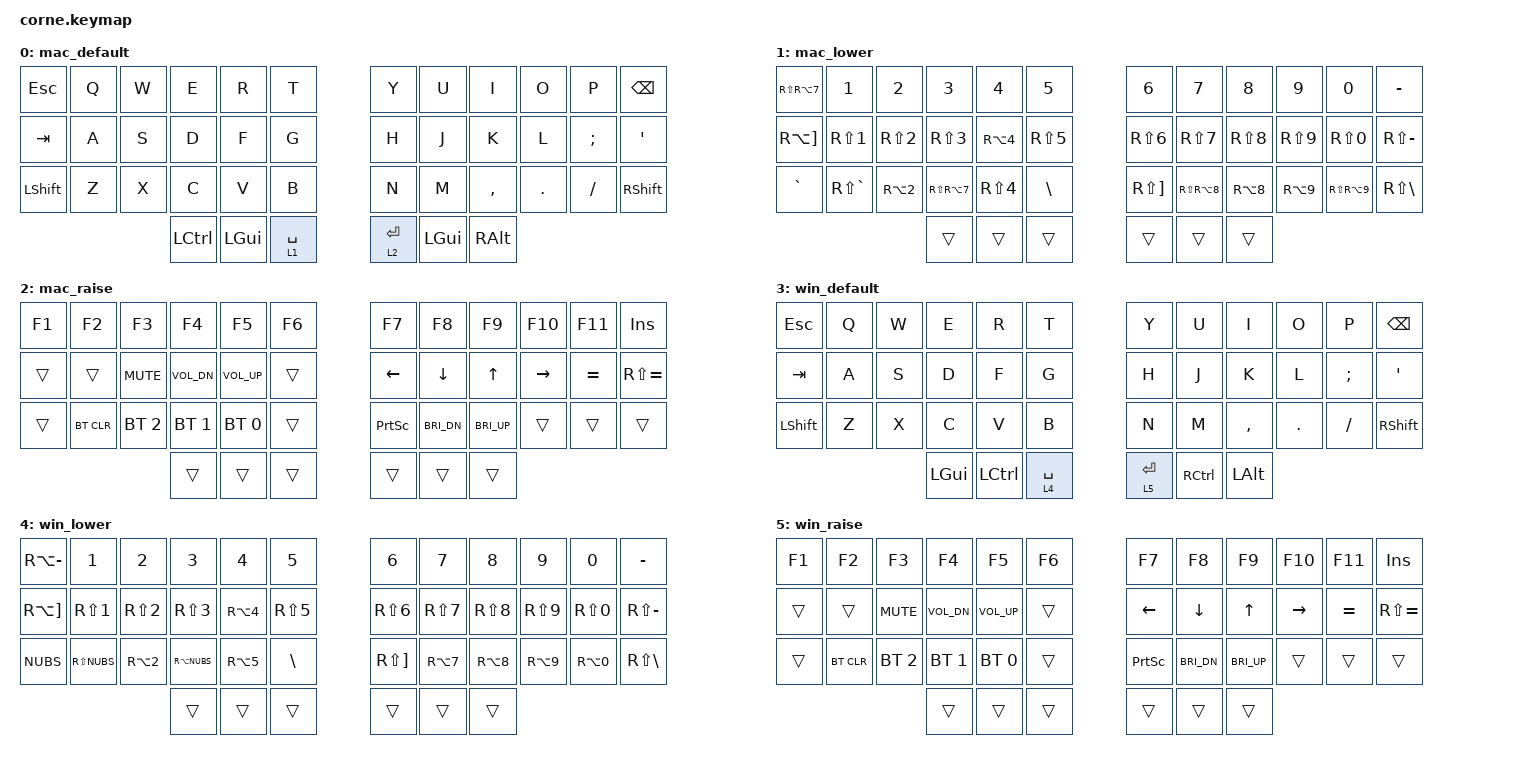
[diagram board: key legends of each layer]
/*
 * Copyright (c) 2020 The ZMK Contributors
 *
 * SPDX-License-Identifier: MIT
 */

#include <behaviors.dtsi>
#include <dt-bindings/zmk/keys.h>
#include <dt-bindings/zmk/bt.h>


/* the keyboard is supposed to be used with a finnish layout in the os
 * us to finnish mappings: 
 * , -> , and ;
 * . -> . and :
 * / -> - and _
 * ; -> ä and Ä
 * ' -> ö and Ö
 */

/ {
        // define combos for switching between mac and win layers
        combos {
                compatible = "zmk,combos";
                combo_to_win {
                        timeout-ms = <50>;
                        key-positions = <0 1>;
                        bindings = <&to 3>;
                };
                combo_to_mac {
                        timeout-ms = <50>;
                        key-positions = <2 3>;
                        bindings = <&to 0>;
                };
        };

        keymap {
                compatible = "zmk,keymap";

                // 0 1 2 layers for mac os keybindings
                mac_default { // layer 0
                        bindings = <
   &kp ESC   &kp Q &kp W &kp E &kp R &kp T   &kp Y &kp U  &kp I     &kp O   &kp P    &kp BSPC
   &kp TAB   &kp A &kp S &kp D &kp F &kp G   &kp H &kp J  &kp K     &kp L   &kp SEMI &kp SQT
   &kp LSHFT &kp Z &kp X &kp C &kp V &kp B   &kp N &kp M  &kp COMMA &kp DOT &kp FSLH &kp RSHFT

            &kp LCTRL &kp LGUI &lt 1 SPACE   &lt 2 RET &kp LGUI &kp RALT
                        >;
                };

                mac_lower { // layer 1
                        bindings = <
   &kp RS(RA(N7)) &kp N1         &kp N2     &kp N3         &kp N4         &kp N5
   &kp N6         &kp N7         &kp N8     &kp N9         &kp N0         &kp MINUS
   &kp RA(RBKT)   &kp RS(N1)     &kp RS(N2) &kp RS(N3)     &kp RA(N4)     &kp RS(N5)
   &kp RS(N6)     &kp RS(N7)     &kp RS(N8) &kp RS(N9)     &kp RS(N0)     &kp RS(MINUS)
   &kp GRAVE      &kp RS(GRAVE)  &kp RA(N2) &kp RS(RA(N7)) &kp RS(N4)     &kp BSLH
   &kp RS(RBKT)   &kp RS(RA(N8)) &kp RA(N8) &kp RA(N9)     &kp RS(RA(N9)) &kp RS(BSLH)

   &trans &trans &trans  &trans &trans &trans
                        >;
                };

                mac_raise { // layer 2
                        bindings = <
   &kp F1    &kp F2       &kp F3       &kp F4       &kp F5         &kp F6
   &kp F7    &kp F8       &kp F9       &kp F10      &kp F11        &kp INS
   &trans    &trans       &kp C_MUTE   &kp C_VOL_DN &kp C_VOL_UP   &trans
   &kp LEFT  &kp DOWN     &kp UP       &kp RIGHT    &kp EQUAL      &kp RS(EQUAL)
   &trans    &bt BT_CLR   &bt BT_SEL 2 &bt BT_SEL 1 &bt BT_SEL 0   &trans
   &kp PSCRN &kp C_BRI_DN &kp C_BRI_UP &trans       &trans         &trans

   &trans &trans &trans  &trans &trans &trans
                        >;
                };

                // 3 4 5 layers for mac os keybindings
                win_default { // layer 3
                        bindings = <
   &kp ESC   &kp Q &kp W &kp E &kp R &kp T   &kp Y &kp U  &kp I     &kp O   &kp P    &kp BSPC
   &kp TAB   &kp A &kp S &kp D &kp F &kp G   &kp H &kp J  &kp K     &kp L   &kp SEMI &kp SQT
   &kp LSHFT &kp Z &kp X &kp C &kp V &kp B   &kp N &kp M  &kp COMMA &kp DOT &kp FSLH &kp RSHFT

            &kp LGUI &kp LCTRL &lt 4 SPACE   &lt 5 RET &kp RCTRL &kp LALT
                        >;
                };

                win_lower { // layer 4
                        bindings = <
   &kp RA(MINUS)  &kp N1         &kp N2     &kp N3         &kp N4         &kp N5
   &kp N6         &kp N7         &kp N8     &kp N9         &kp N0         &kp MINUS
   &kp RA(RBKT)   &kp RS(N1)     &kp RS(N2) &kp RS(N3)     &kp RA(N4)     &kp RS(N5)
   &kp RS(N6)     &kp RS(N7)     &kp RS(N8) &kp RS(N9)     &kp RS(N0)     &kp RS(MINUS)
   &kp NUBS       &kp RS(NUBS)   &kp RA(N2) &kp RA(NUBS)   &kp RA(N5)     &kp BSLH
   &kp RS(RBKT)   &kp RA(N7)     &kp RA(N8) &kp RA(N9)     &kp RA(N0)     &kp RS(BSLH)

   &trans &trans &trans  &trans &trans &trans
                        >;
                };

                win_raise { // layer 5
                        bindings = <
   &kp F1    &kp F2       &kp F3       &kp F4       &kp F5         &kp F6
   &kp F7    &kp F8       &kp F9       &kp F10      &kp F11        &kp INS
   &trans    &trans       &kp C_MUTE   &kp C_VOL_DN &kp C_VOL_UP   &trans
   &kp LEFT  &kp DOWN     &kp UP       &kp RIGHT    &kp EQUAL      &kp RS(EQUAL)
   &trans    &bt BT_CLR   &bt BT_SEL 2 &bt BT_SEL 1 &bt BT_SEL 0   &trans
   &kp PSCRN &kp C_BRI_DN &kp C_BRI_UP &trans       &trans         &trans

   &trans &trans &trans  &trans &trans &trans
                        >;
                };
        };
};
